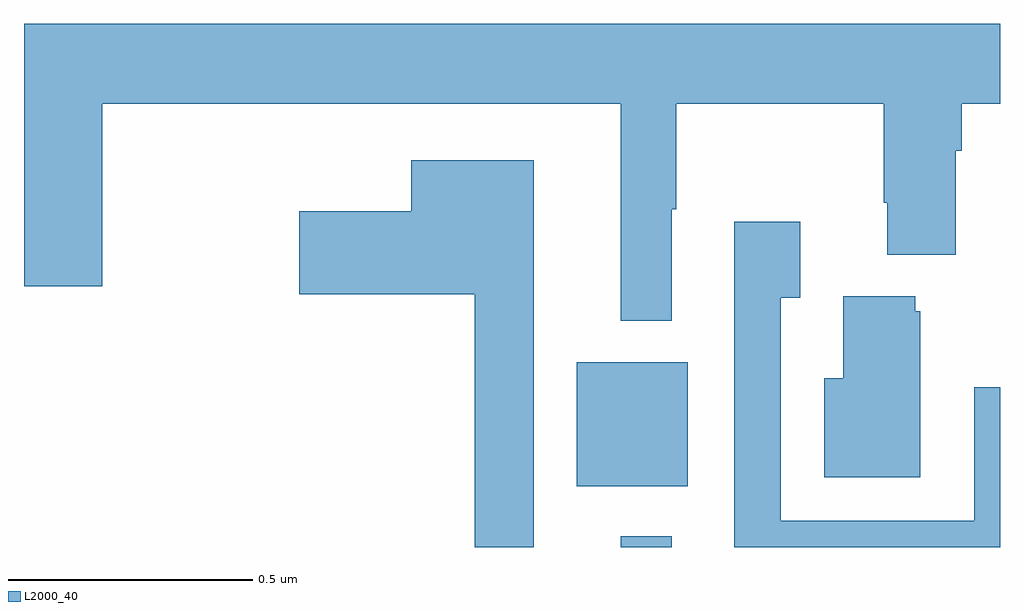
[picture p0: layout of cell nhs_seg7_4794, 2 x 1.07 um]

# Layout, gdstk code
import gdstk
lib = gdstk.Library(unit=1e-6, precision=1e-09)
def R(c, l, rs):  # rectangles x0, y0, x1, y1
    for r in rs: c.add(gdstk.rectangle(r[:2], r[2:], *l))
def P(c, l, *ps):  # polygons
    for p in ps: c.add(gdstk.Polygon(p, *l))
L2000_40 = (2000, 40)

nhs_seg7_4794 = lib.new_cell('nhs_seg7_4794')
R(nhs_seg7_4794, L2000_40, [(178.223,1041,178.327,1041.022), (178.133,1041.125,178.36,1041.379)])
P(nhs_seg7_4794, L2000_40, [(177,1041.534),(177.16,1041.534),(177.16,1041.908),(178.223,1041.908),(178.223,1041.464),(178.327,1041.464),(178.327,1041.692),(178.337,1041.692),(178.337,1041.908),(178.762,1041.908),(178.762,1041.706),(178.769,1041.706),(178.769,1041.599),(178.909,1041.599),(178.909,1041.812),(178.922,1041.812),(178.922,1041.908),(179,1041.908),(179,1042.072),(177,1042.072)],
  [(178.045,1041.793),(177.794,1041.793),(177.794,1041.688),(177.564,1041.688),(177.564,1041.518),(177.924,1041.518),(177.924,1041),(178.045,1041)],
  [(179,1041.328),(178.947,1041.328),(178.947,1041.054),(178.551,1041.054),(178.551,1041.511),(178.591,1041.511),(178.591,1041.667),(178.455,1041.667),(178.455,1041),(179,1041)],
  [(178.837,1041.483),(178.826,1041.483),(178.826,1041.514),(178.679,1041.514),(178.679,1041.346),(178.64,1041.346),(178.64,1041.143),(178.837,1041.143)])

lib.write_gds('nhs_seg7_4794.gds')
